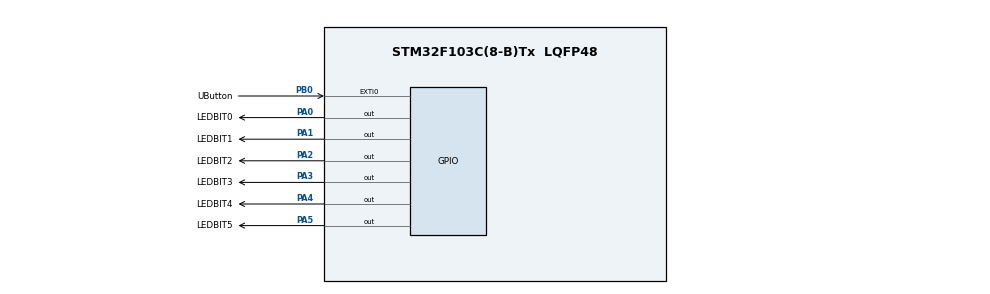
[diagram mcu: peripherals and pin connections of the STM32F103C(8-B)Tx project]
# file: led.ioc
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Mcu.Family=STM32F1
Mcu.Name=STM32F103C(8-B)Tx
Mcu.Package=LQFP48
NVIC.EXTI0_IRQn=true\:0\:0\:false\:false\:true\:true\:true
NVIC.PriorityGroup=NVIC_PRIORITYGROUP_4
PA0-WKUP.GPIO_Label=LEDBIT0
PA0-WKUP.Signal=GPIO_Output
PA1.GPIO_Label=LEDBIT1
PA1.Signal=GPIO_Output
PA13.Mode=Serial_Wire
PA13.Signal=SYS_JTMS-SWDIO
PA14.Mode=Serial_Wire
PA14.Signal=SYS_JTCK-SWCLK
PA2.GPIO_Label=LEDBIT2
PA2.Signal=GPIO_Output
PA3.GPIO_Label=LEDBIT3
PA3.Signal=GPIO_Output
PA4.GPIO_Label=LEDBIT4
PA4.Signal=GPIO_Output
PA5.GPIO_Label=LEDBIT5
PA5.Signal=GPIO_Output
PB0.GPIO_Label=UButton
PB0.GPIO_ModeDefaultEXTI=GPIO_MODE_IT_RISING
PB0.Signal=GPXTI0
PC14-OSC32_IN.Mode=LSE-External-Oscillator
PC14-OSC32_IN.Signal=RCC_OSC32_IN
PC15-OSC32_OUT.Mode=LSE-External-Oscillator
PC15-OSC32_OUT.Signal=RCC_OSC32_OUT
PD0-OSC_IN.Mode=HSE-External-Oscillator
PD0-OSC_IN.Signal=RCC_OSC_IN
PD1-OSC_OUT.Mode=HSE-External-Oscillator
PD1-OSC_OUT.Signal=RCC_OSC_OUT
ProjectManager.HeapSize=0x200
ProjectManager.StackSize=0x400
ProjectManager.TargetToolchain=STM32CubeIDE
RCC.APB1Freq_Value=8000000
RCC.APB2Freq_Value=8000000
RCC.SYSCLKSource=RCC_SYSCLKSOURCE_HSE
board=custom

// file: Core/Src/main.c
/* USER CODE BEGIN Header */
/**
  ******************************************************************************
  * @file           : main.c
  * @brief          : Main program body
  ******************************************************************************
  * @attention
  *
  * <h2><center>&copy; Copyright (c) 2021 STMicroelectronics.
  * All rights reserved.</center></h2>
  *
  * This software component is licensed by ST under BSD 3-Clause license,
  * the "License"; You may not use this file except in compliance with the
  * License. You may obtain a copy of the License at:
  *                        opensource.org/licenses/BSD-3-Clause
  *
  ******************************************************************************
  */
/* USER CODE END Header */
#include "main.h"
#include "gpio.h"

void SystemClock_Config(void);
/* USER CODE BEGIN PFP */
volatile int pressed = 0;
volatile int button_is_pressed = 0;
void HAL_GPIO_EXTI_Callback(uint16_t GPIO_Pin)
{
 if( GPIO_Pin == UButton_Pin)
 {
  static uint32_t last_change_tick;
  if( HAL_GetTick() - last_change_tick < 50 )
  {
   return;
  }
  last_change_tick = HAL_GetTick();
  if(button_is_pressed)
  {
   button_is_pressed = 0;
   ++pressed;
  }else
  {
   button_is_pressed = 1;
  }
 }
}
/* USER CODE END PFP */

int main(void)
{

  /* MCU Configuration--------------------------------------------------------*/

  /* Reset of all peripherals, Initializes the Flash interface and the Systick. */
  HAL_Init();

  /* Configure the system clock */
  SystemClock_Config();

  /* Initialize all configured peripherals */
  MX_GPIO_Init();

  /* Infinite loop */
  /* USER CODE BEGIN WHILE */
  int pressed = 0;
  while (1)
  {
    if ( HAL_GPIO_ReadPin(UButton_GPIO_Port, UButton_Pin) )
    {
      ++pressed;
      if (pressed == 6)
          {
            pressed = 0;
          }
      HAL_Delay(50);
      while( HAL_GPIO_ReadPin(UButton_GPIO_Port, UButton_Pin) )
      {}
      HAL_Delay(50);
    }

    if (pressed == 0)
    {
      HAL_GPIO_TogglePin(LEDBIT0_GPIO_Port, LEDBIT0_Pin);
      HAL_GPIO_WritePin(LEDBIT5_GPIO_Port, LEDBIT5_Pin, GPIO_PIN_RESET);
    }
    else if (pressed == 1)
    {
      HAL_GPIO_TogglePin(LEDBIT1_GPIO_Port, LEDBIT1_Pin);
      HAL_GPIO_WritePin(LEDBIT0_GPIO_Port, LEDBIT0_Pin, GPIO_PIN_RESET);
    }
    else if (pressed == 2)
    {
      HAL_GPIO_TogglePin(LEDBIT2_GPIO_Port, LEDBIT2_Pin);
      HAL_GPIO_WritePin(LEDBIT1_GPIO_Port, LEDBIT1_Pin, GPIO_PIN_RESET);
    }
    else if (pressed == 3)
    {
      HAL_GPIO_TogglePin(LEDBIT3_GPIO_Port, LEDBIT3_Pin);
      HAL_GPIO_WritePin(LEDBIT2_GPIO_Port, LEDBIT2_Pin, GPIO_PIN_RESET);
    }
    else if (pressed == 4)
    {
      HAL_GPIO_TogglePin(LEDBIT4_GPIO_Port, LEDBIT4_Pin);
      HAL_GPIO_WritePin(LEDBIT3_GPIO_Port, LEDBIT3_Pin, GPIO_PIN_RESET);
    }
    else if (pressed == 5)
    {
      HAL_GPIO_TogglePin(LEDBIT5_GPIO_Port, LEDBIT5_Pin);
      HAL_GPIO_WritePin(LEDBIT4_GPIO_Port, LEDBIT4_Pin, GPIO_PIN_RESET);
    }

    HAL_Delay(25*(pressed+1));

//    HAL_GPIO_WritePin(LEDBIT0_GPIO_Port, LEDBIT0_Pin, pressed == 0);
//    HAL_GPIO_WritePin(LEDBIT1_GPIO_Port, LEDBIT1_Pin, pressed == 1);
//    HAL_GPIO_WritePin(LEDBIT2_GPIO_Port, LEDBIT2_Pin, pressed == 2);
//    HAL_GPIO_WritePin(LEDBIT3_GPIO_Port, LEDBIT3_Pin, pressed == 3);
//    HAL_GPIO_WritePin(LEDBIT4_GPIO_Port, LEDBIT4_Pin, pressed == 4);
//    HAL_GPIO_WritePin(LEDBIT5_GPIO_Port, LEDBIT5_Pin, pressed == 5);

    /* USER CODE END WHILE */

  }
}

void SystemClock_Config(void)
{
  RCC_OscInitTypeDef RCC_OscInitStruct = {0};
  RCC_ClkInitTypeDef RCC_ClkInitStruct = {0};

  /** Initializes the RCC Oscillators according to the specified parameters
  * in the RCC_OscInitTypeDef structure.
  */
  RCC_OscInitStruct.OscillatorType = RCC_OSCILLATORTYPE_HSE;
  RCC_OscInitStruct.HSEState = RCC_HSE_ON;
  RCC_OscInitStruct.PLL.PLLState = RCC_PLL_NONE;
  if (HAL_RCC_OscConfig(&RCC_OscInitStruct) != HAL_OK)
  {
    Error_Handler();
  }
  /** Initializes the CPU, AHB and APB buses clocks
  */
  RCC_ClkInitStruct.ClockType = RCC_CLOCKTYPE_HCLK|RCC_CLOCKTYPE_SYSCLK
                              |RCC_CLOCKTYPE_PCLK1|RCC_CLOCKTYPE_PCLK2;
  RCC_ClkInitStruct.SYSCLKSource = RCC_SYSCLKSOURCE_HSE;
  RCC_ClkInitStruct.AHBCLKDivider = RCC_SYSCLK_DIV1;
  RCC_ClkInitStruct.APB1CLKDivider = RCC_HCLK_DIV1;
  RCC_ClkInitStruct.APB2CLKDivider = RCC_HCLK_DIV1;

  if (HAL_RCC_ClockConfig(&RCC_ClkInitStruct, FLASH_LATENCY_0) != HAL_OK)
  {
    Error_Handler();
  }
}

void Error_Handler(void)
{
  __disable_irq();
  while (1)
  {
  }
}

/************************ (C) COPYRIGHT STMicroelectronics *****END OF FILE****/
